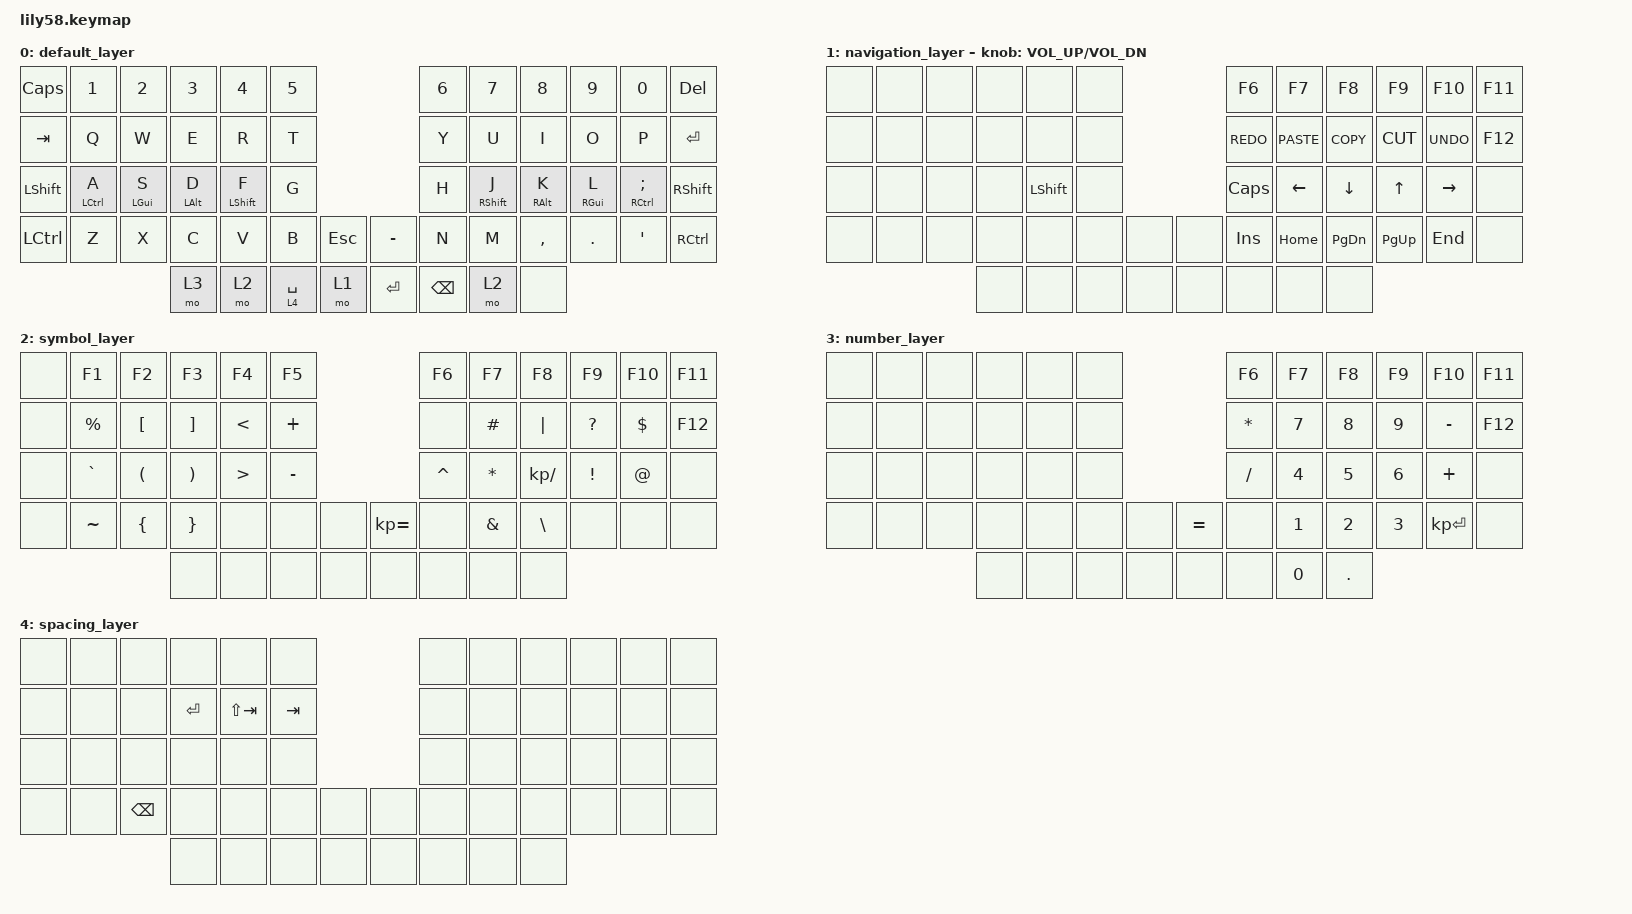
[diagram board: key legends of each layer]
/*
 * Copyright (c) 2020 The ZMK Contributors
 *
 * SPDX-License-Identifier: MIT
 */

#include <behaviors.dtsi>
#include <dt-bindings/zmk/keys.h>

/ {
    behaviors {
        bhm: balanced_homerow_mods {
            compatible = "zmk,behavior-hold-tap";
            #binding-cells = <2>;
            tapping-term-ms = <200>;    // <---[[moderate duration]]
            quick-tap-ms = <0>;
            flavor = "balanced";
            bindings = <&kp>, <&kp>;
        };
    };

    combos { compatible = "zmk,combos"; };

    keymap {
        compatible = "zmk,keymap";

        default_layer {
            // ------------------------------------------------------------------------------------------------------------
            // |  ESC  |  1  |  2  |  3   |  4   |  5   |                   |  6   |  7    |  8    |  9   |   0   |   `   |
            // |  TAB  |  Q  |  W  |  E   |  R   |  T   |                   |  Y   |  U    |  I    |  O   |   P   |   -   |
            // |  CTRL |  A  |  S  |  D   |  F   |  G   |                   |  H   |  J    |  K    |  L   |   ;   |   '   |
            // | SHIFT |  Z  |  X  |  C   |  V   |  B   |   "["  |  |  "]"  |  N   |  M    |  ,    |  .   |   /   | SHIFT |
            //                     | ALT  | GUI  | LOWER|  SPACE |  | ENTER | RAISE| BSPC  | GUI   |

            bindings = <
&kp CLCK          &kp N1        &kp N2       &kp N3       &kp N4         &kp N5                                &kp N6         &kp N7         &kp N8       &kp N9       &kp N0                &kp DELETE
&kp TAB           &kp Q         &kp W        &kp E        &kp R          &kp T                                 &kp Y          &kp U          &kp I        &kp O        &kp P                 &kp ENTER
&kp LEFT_SHIFT    &bhm LCTRL A  &bhm LGUI S  &bhm LALT D  &bhm LSHIFT F  &kp G                                 &kp H          &bhm RSHIFT J  &bhm RALT K  &bhm RGUI L  &bhm RCTRL SEMICOLON  &kp RIGHT_SHIFT
&kp LEFT_CONTROL  &kp Z         &kp X        &kp C        &kp V          &kp B        &kp ESCAPE    &kp MINUS  &kp N          &kp M          &kp COMMA    &kp DOT      &kp APOSTROPHE        &kp RIGHT_CONTROL
                                             &mo 3        &mo 2          &lt 4 SPACE  &mo 1         &kp RET    &kp BACKSPACE  &mo 2          &none
            >;
        };

        navigation_layer {
            // ------------------------------------------------------------------------------------------------------------
            // |       |     |     |      |      |      |                   |      |       |       |      |       |       |
            // |   `   |  1  |  2  |  3   |  4   |  5   |                   |  6   |   7   |   8   |  9   |   0   |       |
            // |   F1  |  F2 |  F3 |  F4  |  F5  |  F6  |                   |      |   <-  |   v   |  ^   |  ->   |       |
            // |   F7  |  F8 |  F9 |  F10 |  F11 |  F12 |        |  |       |  +   |   -   |   =   |  [   |   ]   |   \   |
            //                     |      |      |      |        |  |       |      |       |       |

            bindings = <
&none  &none  &none  &none  &none           &none                  &kp F6        &kp F7       &kp F8         &kp F9       &kp F10     &kp F11
&none  &none  &none  &none  &none           &none                  &kp K_REDO    &kp K_PASTE  &kp K_COPY     &kp K_CUT    &kp K_UNDO  &kp F12
&none  &none  &none  &none  &kp LEFT_SHIFT  &none                  &kp CAPSLOCK  &kp LEFT     &kp DOWN       &kp UP       &kp RIGHT   &none
&none  &none  &none  &none  &none           &none  &none    &none  &kp INSERT    &kp HOME     &kp PAGE_DOWN  &kp PAGE_UP  &kp END     &none
                     &none  &none           &none  &none    &none  &none         &none        &none
            >;

            sensor-bindings = <&inc_dec_kp C_VOL_UP C_VOL_DN>;
        };

        symbol_layer {
            bindings = <
&none  &kp F1       &kp F2                &kp F3                 &kp F4            &kp F5                            &kp F6     &kp F7         &kp F8         &kp F9        &kp F10     &kp F11
&none  &kp PERCENT  &kp LEFT_BRACKET      &kp RIGHT_BRACKET      &kp LESS_THAN     &kp PLUS                          &none      &kp HASH       &kp PIPE       &kp QUESTION  &kp DOLLAR  &kp F12
&none  &kp GRAVE    &kp LEFT_PARENTHESIS  &kp RIGHT_PARENTHESIS  &kp GREATER_THAN  &kp MINUS                         &kp CARET  &kp ASTERISK   &kp KP_SLASH   &kp EXCL      &kp AT      &none
&none  &kp TILDE    &kp LEFT_BRACE        &kp RIGHT_BRACE        &none             &none      &none    &kp KP_EQUAL  &none      &kp AMPERSAND  &kp BACKSLASH  &none         &none       &none
                                          &none                  &none             &none      &none    &none         &none      &none          &none
            >;
        };

        number_layer {
            bindings = <
&none  &none  &none  &none  &none  &none                      &kp F6        &kp F7        &kp F8        &kp F9        &kp F10       &kp F11
&none  &none  &none  &none  &none  &none                      &kp ASTERISK  &kp NUMBER_7  &kp NUMBER_8  &kp NUMBER_9  &kp MINUS     &kp F12
&none  &none  &none  &none  &none  &none                      &kp FSLH      &kp NUMBER_4  &kp NUMBER_5  &kp NUMBER_6  &kp PLUS      &none
&none  &none  &none  &none  &none  &none  &none    &kp EQUAL  &none         &kp NUMBER_1  &kp NUMBER_2  &kp NUMBER_3  &kp KP_ENTER  &none
                     &none  &none  &none  &none    &none      &none         &kp NUMBER_0  &kp DOT
            >;
        };

        spacing_layer {
            bindings = <
&none  &none  &none          &none      &none        &none                    &none  &none  &none  &none  &none  &none
&none  &none  &none          &kp ENTER  &kp LS(TAB)  &kp TAB                  &none  &none  &none  &none  &none  &none
&none  &none  &none          &none      &none        &none                    &none  &none  &none  &none  &none  &none
&none  &none  &kp BACKSPACE  &none      &none        &none    &none    &none  &none  &none  &none  &none  &none  &none
                             &none      &none        &none    &none    &none  &none  &none  &none
            >;
        };
    };
};
